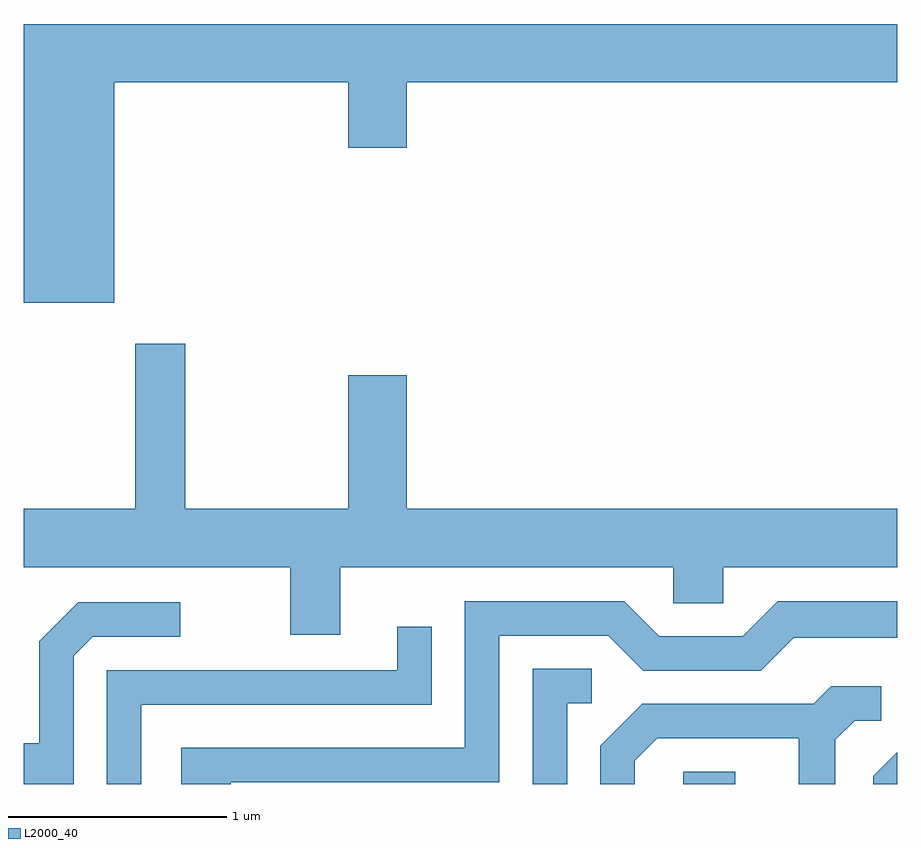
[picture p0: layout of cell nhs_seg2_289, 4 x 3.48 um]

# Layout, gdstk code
import gdstk
lib = gdstk.Library(unit=1e-6, precision=1e-09)
def R(c, l, rs):  # rectangles x0, y0, x1, y1
    for r in rs: c.add(gdstk.rectangle(r[:2], r[2:], *l))
def P(c, l, *ps):  # polygons
    for p in ps: c.add(gdstk.Polygon(p, *l))
L2000_40 = (2000, 40)

nhs_seg2_289 = lib.new_cell('nhs_seg2_289')
R(nhs_seg2_289, L2000_40, [(196.631,1011.802,196.869,1011.859)])
P(nhs_seg2_289, L2000_40, [(194.024,1015.016),(195.096,1015.016),(195.096,1014.716),(195.364,1014.716),(195.364,1015.016),(197.611,1015.016),(197.611,1015.284),(193.611,1015.284),(193.611,1014.006),(194.024,1014.006)],
  [(195.059,1012.796),(196.586,1012.796),(196.586,1012.631),(196.814,1012.631),(196.814,1012.796),(197.611,1012.796),(197.611,1013.064),(195.364,1013.064),(195.364,1013.674),(195.096,1013.674),(195.096,1013.064),(194.349,1013.064),(194.349,1013.819),(194.121,1013.819),(194.121,1013.064),(193.611,1013.064),(193.611,1012.796),(194.831,1012.796),(194.831,1012.486),(195.059,1012.486)],
  [(194.559,1011.811),(195.789,1011.811),(195.789,1012.481),(196.289,1012.481),(196.449,1012.321),(196.987,1012.321),(197.137,1012.471),(197.611,1012.471),(197.611,1012.639),(197.064,1012.639),(196.904,1012.479),(196.522,1012.479),(196.362,1012.639),(195.631,1012.639),(195.631,1011.969),(194.331,1011.969),(194.331,1011.802),(194.559,1011.802)],
  [(193.839,1012.389),(193.927,1012.476),(194.328,1012.476),(194.328,1012.634),(193.859,1012.634),(193.681,1012.457),(193.681,1011.989),(193.611,1011.989),(193.611,1011.802),(193.839,1011.802)],
  [(194.149,1012.166),(195.479,1012.166),(195.479,1012.523),(195.321,1012.523),(195.321,1012.324),(193.991,1012.324),(193.991,1011.802),(194.149,1011.802)],
  [(196.099,1012.171),(196.213,1012.171),(196.213,1012.329),(195.941,1012.329),(195.941,1011.802),(196.099,1011.802)],
  [(196.409,1011.909),(196.512,1012.011),(197.161,1012.011),(197.161,1011.802),(197.329,1011.802),(197.329,1012.004),(197.417,1012.091),(197.538,1012.091),(197.538,1012.249),(197.309,1012.249),(197.229,1012.169),(196.444,1012.169),(196.251,1011.977),(196.251,1011.802),(196.409,1011.802)],
  [(197.611,1011.947),(197.501,1011.837),(197.501,1011.802),(197.611,1011.802)])

lib.write_gds('nhs_seg2_289.gds')
